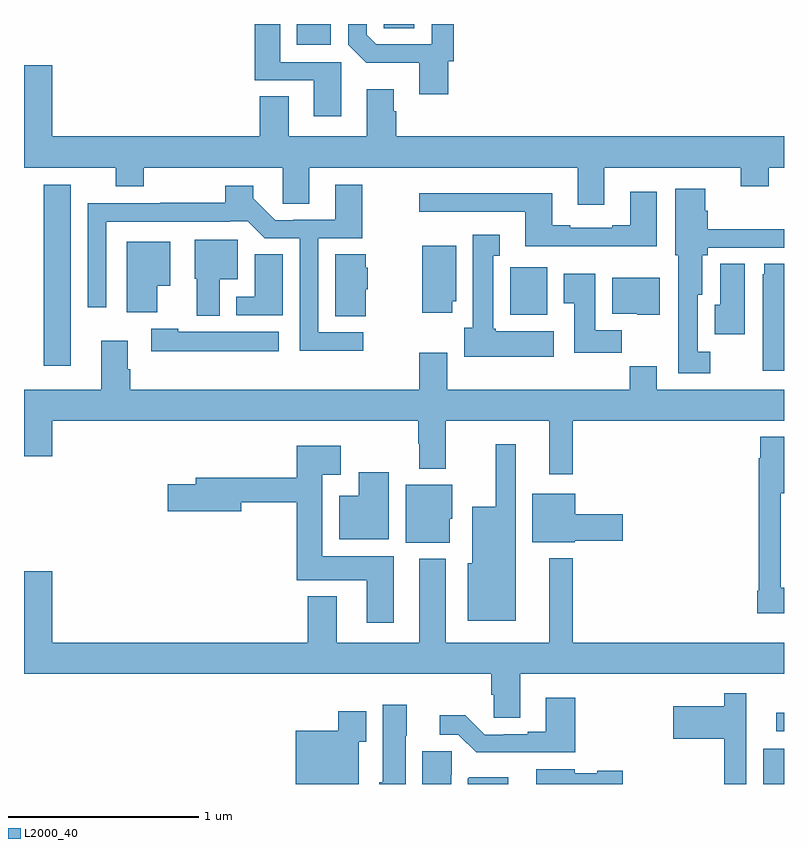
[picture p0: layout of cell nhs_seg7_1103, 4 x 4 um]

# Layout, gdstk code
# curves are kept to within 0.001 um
import gdstk
lib = gdstk.Library(unit=1e-6, precision=1e-09)
def R(c, l, rs):  # rectangles x0, y0, x1, y1
    for r in rs: c.add(gdstk.rectangle(r[:2], r[2:], *l))
def P(c, l, *ps):  # polygons
    for p in ps: c.add(gdstk.Polygon(p, *l))
L2000_40 = (2000, 40)

nhs_seg7_1103 = lib.new_cell('nhs_seg7_1103')
R(nhs_seg7_1103, L2000_40, [(192.89,1036,193,1036.185), (192.96,1036.278,193,1036.375), (189.104,1038.201,189.247,1039.153), (191.559,1038.47,191.755,1038.72), (190.436,1039.892,190.615,1040), (190.893,1039.978,191.055,1040)])
P(nhs_seg7_1103, L2000_40, [(191.234,1039.803),(191.261,1039.803),(191.261,1040),(191.145,1040),(191.145,1039.893),(190.854,1039.893),(190.803,1039.944),(190.803,1040),(190.707,1040),(190.707,1039.89),(190.801,1039.796),(191.081,1039.796),(191.081,1039.629),(191.234,1039.629)],
  [(190.669,1039.8),(190.348,1039.8),(190.348,1040),(190.214,1040),(190.214,1039.704),(190.526,1039.704),(190.526,1039.515),(190.669,1039.515)],
  [(192.055,1039.244),(192.773,1039.244),(192.773,1039.145),(192.921,1039.145),(192.921,1039.244),(193,1039.244),(193,1039.408),(190.958,1039.408),(190.958,1039.541),(190.945,1039.541),(190.945,1039.657),(190.805,1039.657),(190.805,1039.408),(190.393,1039.408),(190.393,1039.619),(190.241,1039.619),(190.241,1039.408),(189.148,1039.408),(189.148,1039.783),(189,1039.783),(189,1039.244),(189.482,1039.244),(189.482,1039.145),(189.63,1039.145),(189.63,1039.244),(190.362,1039.244),(190.362,1039.054),(190.501,1039.054),(190.501,1039.244),(191.915,1039.244),(191.915,1039.05),(192.055,1039.05)],
  [(190.786,1038.378),(190.548,1038.378),(190.548,1038.873),(190.78,1038.873),(190.78,1039.153),(190.637,1039.153),(190.637,1038.969),(190.417,1038.969),(190.417,1038.966),(190.323,1038.966),(190.207,1039.082),(190.207,1039.15),(190.06,1039.15),(190.06,1039.058),(189.718,1039.058),(189.718,1039.056),(189.336,1039.056),(189.336,1038.51),(189.432,1038.51),(189.433,1038.96),(190.082,1038.96),(190.082,1038.963),(190.178,1038.963),(190.268,1038.873),(190.452,1038.873),(190.452,1038.281),(190.786,1038.281)],
  [(192.613,1038.274),(192.547,1038.274),(192.547,1038.576),(192.571,1038.576),(192.571,1038.783),(192.598,1038.783),(192.598,1038.822),(193,1038.822),(193,1038.921),(192.599,1038.921),(192.599,1039.017),(192.586,1039.017),(192.586,1039.132),(192.428,1039.132),(192.428,1038.783),(192.443,1038.783),(192.443,1038.161),(192.613,1038.161)],
  [(192.331,1039.117),(192.191,1039.117),(192.191,1038.94),(192.095,1038.94),(192.095,1038.927),(191.875,1038.927),(191.875,1038.94),(191.779,1038.94),(191.779,1039.108),(191.079,1039.108),(191.079,1039.011),(191.639,1039.011),(191.639,1038.83),(192.331,1038.83)],
  [(191.788,1038.382),(191.484,1038.382),(191.484,1038.396),(191.47,1038.396),(191.47,1038.779),(191.503,1038.779),(191.503,1038.892),(191.363,1038.892),(191.363,1038.402),(191.318,1038.402),(191.318,1038.248),(191.788,1038.248)],
  [(190.03,1038.656),(190.126,1038.656),(190.126,1038.865),(189.899,1038.865),(189.899,1038.66),(189.908,1038.66),(189.908,1038.464),(190.03,1038.464)],
  [(189.7,1038.623),(189.769,1038.623),(189.769,1038.853),(189.542,1038.853),(189.542,1038.482),(189.7,1038.482)],
  [(191.254,1038.54),(191.275,1038.54),(191.275,1038.832),(191.096,1038.832),(191.096,1038.48),(191.254,1038.48)],
  [(190.798,1038.603),(190.81,1038.603),(190.81,1038.717),(190.798,1038.717),(190.798,1038.788),(190.637,1038.788),(190.637,1038.463),(190.798,1038.463)],
  [(190.363,1038.788),(190.214,1038.788),(190.214,1038.564),(190.116,1038.564),(190.116,1038.468),(190.363,1038.468)],
  [(192.793,1038.737),(192.665,1038.737),(192.665,1038.522),(192.635,1038.522),(192.635,1038.366),(192.793,1038.366)],
  [(193,1038.737),(192.896,1038.737),(192.896,1038.684),(192.887,1038.684),(192.887,1038.174),(193,1038.174)],
  [(192.146,1038.388),(192.007,1038.388),(192.007,1038.685),(191.84,1038.685),(191.84,1038.529),(191.897,1038.529),(191.897,1038.27),(192.146,1038.27)],
  [(192.346,1038.664),(192.095,1038.664),(192.095,1038.476),(192.228,1038.476),(192.228,1038.47),(192.346,1038.47)],
  [(190.342,1038.379),(189.813,1038.379),(189.813,1038.397),(189.669,1038.397),(189.669,1038.278),(190.342,1038.278)],
  [(191.887,1037.912),(193,1037.912),(193,1038.076),(192.331,1038.076),(192.331,1038.2),(192.187,1038.2),(192.187,1038.076),(191.227,1038.076),(191.227,1038.271),(191.08,1038.271),(191.08,1038.076),(189.56,1038.076),(189.56,1038.182),(189.547,1038.182),(189.547,1038.334),(189.407,1038.334),(189.407,1038.076),(189,1038.076),(189,1037.724),(189.148,1037.724),(189.148,1037.912),(191.074,1037.912),(191.074,1037.792),(191.081,1037.792),(191.081,1037.66),(191.221,1037.66),(191.221,1037.912),(191.765,1037.912),(191.765,1037.631),(191.887,1037.631)],
  [(193,1037.033),(192.984,1037.033),(192.984,1037.529),(193,1037.529),(193,1037.827),(192.875,1037.827),(192.875,1037.714),(192.868,1037.714),(192.868,1037.016),(192.86,1037.016),(192.86,1036.898),(193,1036.898)],
  [(191.587,1037.788),(191.483,1037.788),(191.483,1037.458),(191.36,1037.458),(191.36,1037.163),(191.336,1037.163),(191.336,1036.859),(191.587,1036.859)],
  [(190.945,1037.2),(190.57,1037.2),(190.57,1037.627),(190.666,1037.627),(190.666,1037.779),(190.436,1037.779),(190.436,1037.611),(189.905,1037.611),(189.905,1037.577),(189.756,1037.577),(189.756,1037.435),(190.144,1037.435),(190.144,1037.482),(190.436,1037.482),(190.436,1037.072),(190.805,1037.072),(190.805,1036.848),(190.945,1036.848)],
  [(190.921,1037.641),(190.763,1037.641),(190.763,1037.518),(190.658,1037.518),(190.658,1037.288),(190.921,1037.288)],
  [(191.242,1037.397),(191.254,1037.397),(191.254,1037.575),(191.009,1037.575),(191.009,1037.27),(191.242,1037.27)],
  [(191.898,1037.279),(192.151,1037.279),(192.151,1037.421),(191.902,1037.421),(191.902,1037.527),(191.675,1037.527),(191.675,1037.273),(191.898,1037.273)],
  [(191.611,1036.58),(193,1036.58),(193,1036.744),(191.887,1036.744),(191.887,1037.188),(191.765,1037.188),(191.765,1036.744),(191.221,1036.744),(191.221,1037.185),(191.081,1037.185),(191.081,1036.744),(190.645,1036.744),(190.645,1036.987),(190.493,1036.987),(190.493,1036.744),(189.148,1036.744),(189.148,1037.119),(189,1037.119),(189,1036.58),(191.459,1036.58),(191.459,1036.47),(191.472,1036.47),(191.472,1036.348),(191.611,1036.348)],
  [(192.801,1036.254),(192.802,1036.254),(192.802,1036.477),(192.685,1036.477),(192.685,1036.408),(192.417,1036.408),(192.417,1036.238),(192.685,1036.238),(192.685,1036),(192.801,1036)],
  [(191.9,1036.453),(191.747,1036.453),(191.747,1036.276),(191.651,1036.276),(191.651,1036.263),(191.524,1036.263),(191.524,1036.26),(191.424,1036.26),(191.322,1036.363),(191.187,1036.363),(191.187,1036.26),(191.286,1036.26),(191.381,1036.166),(191.9,1036.166)],
  [(191.008,1036.254),(191.014,1036.254),(191.014,1036.417),(190.889,1036.417),(190.889,1036.008),(190.871,1036.008),(190.871,1036),(191.008,1036)],
  [(190.761,1036.223),(190.801,1036.223),(190.801,1036.384),(190.653,1036.384),(190.653,1036.279),(190.43,1036.279),(190.43,1036),(190.761,1036)],
  [(191.248,1036.05),(191.252,1036.05),(191.252,1036.173),(191.096,1036.173),(191.096,1036),(191.248,1036)],
  [(192.151,1036.07),(192.018,1036.07),(192.018,1036.057),(191.898,1036.057),(191.898,1036.078),(191.696,1036.078),(191.696,1036),(192.151,1036)],
  [(191.548,1036.036),(191.344,1036.036),(191.336,1036.028),(191.336,1036),(191.548,1036)])

lib.write_gds('nhs_seg7_1103.gds')
